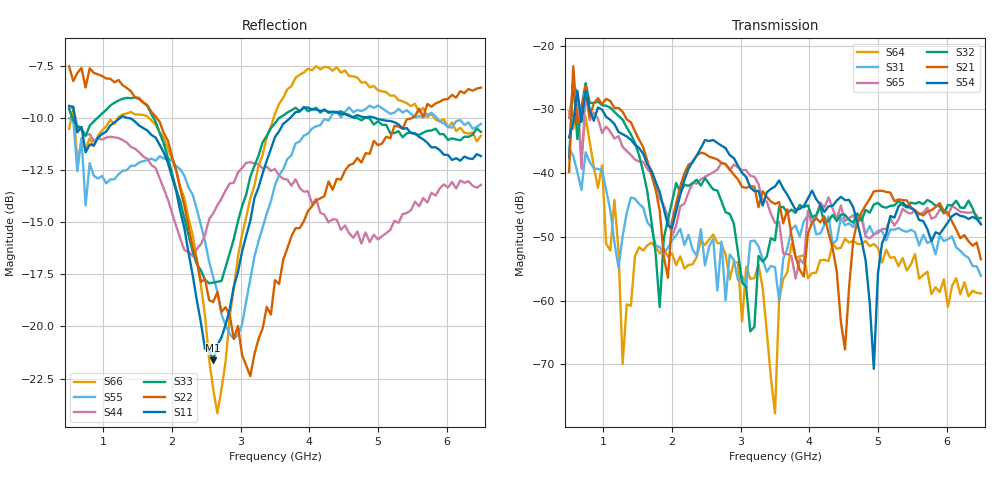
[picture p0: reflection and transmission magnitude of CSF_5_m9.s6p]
!Keysight Technologies,M9804A,MY58100912,A.14.10.03
!Date: Thursday, April 27, 2023 10:28:33
!Correction: S11(C  6-Port  )
!S12(C  6-Port  )
!S13(C  6-Port  )
!S14(C  6-Port  )
!S15(C  6-Port  )
!S16(C  6-Port  )
!S21(C  6-Port  )
!S22(C  6-Port  )
!S23(C  6-Port  )
!S24(C  6-Port  )
!S25(C  6-Port  )
!S26(C  6-Port  )
!S31(C  6-Port  )
!S32(C  6-Port  )
!S33(C  6-Port  )
!S34(C  6-Port  )
!S35(C  6-Port  )
!S36(C  6-Port  )
!S41(C  6-Port  )
!S42(C  6-Port  )
!S43(C  6-Port  )
!S44(C  6-Port  )
!S45(C  6-Port  )
!S46(C  6-Port  )
!S51(C  6-Port  )
!S52(C  6-Port  )
!S53(C  6-Port  )
!S54(C  6-Port  )
!S55(C  6-Port  )
!S56(C  6-Port  )
!S61(C  6-Port  )
!S62(C  6-Port  )
!S63(C  6-Port  )
!S64(C  6-Port  )
!S65(C  6-Port  )
!S66(C  6-Port  )
!S6P File: Measurement: :
# Hz S  RI  R 50
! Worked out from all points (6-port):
!   101 points, 500 MHz to 6.5 GHz, reference 50 ohm
!   strongest paths, dB at 500 MHz, 2 GHz, 3.5 GHz, 5 GHz, 6.5 GHz:
!     S54: -34.4, -48.6, -42.1, -55.8, -48.0
!     S21: -39.8, -47.6, -44.8, -42.8, -53.5
!     S32: -37.6, -44.5, -50.6, -44.7, -47.0
!     S65: -31.4, -49.9, -47.8, -49.4, -48.1
!     S31: -36.1, -50.5, -54.8, -49.0, -56.1
!     S64: -30.3, -52.6, -77.7, -51.8, -58.9
!   lowest |S11| = -21.6 dB at 2.6 GHz (marker M1), VSWR 1.18, Z = 42.6 + j2.03 ohm
!   |S11| at or under -10 dB: 587 MHz to 1.237 GHz (650.4 MHz wide, 71.3 % of centre); 1.389 GHz to 3.715 GHz (2.326 GHz wide, 91.2 % of centre); 4.971 GHz to end of sweep
